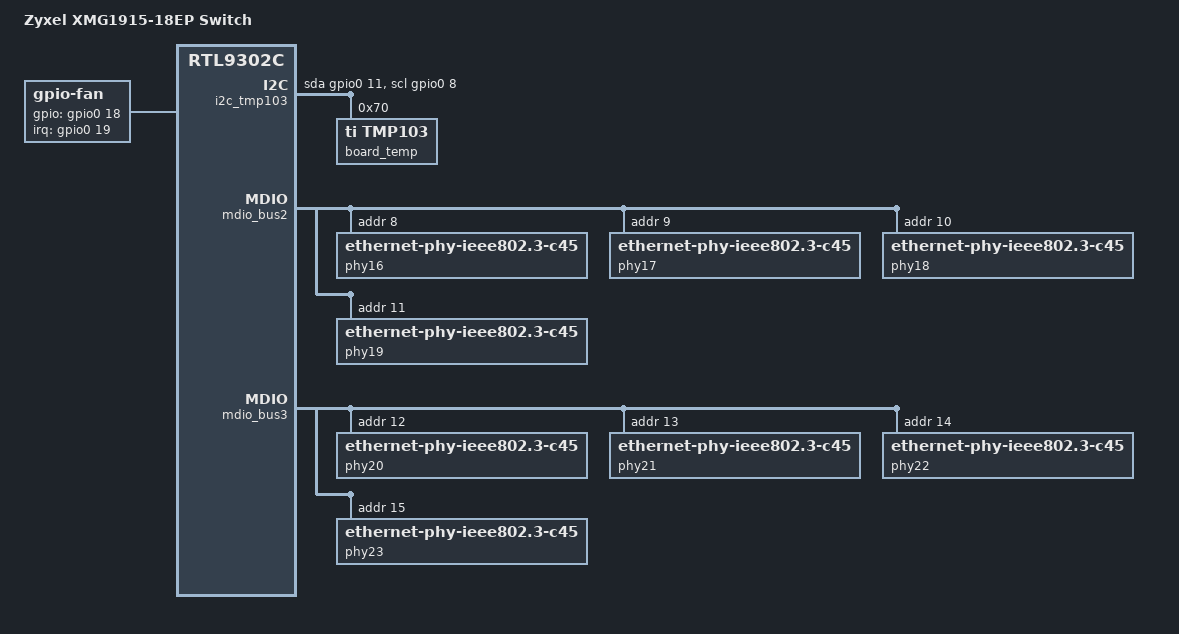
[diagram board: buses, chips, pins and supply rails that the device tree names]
// SPDX-License-Identifier: GPL-2.0-or-later
/dts-v1/;

#include "rtl9302_zyxel_xmg1915-common.dtsi"
#include "rtl9302_zyxel_xmg1915-poe.dtsi"

#include <dt-bindings/input/input.h>
#include <dt-bindings/gpio/gpio.h>
#include <dt-bindings/interrupt-controller/irq.h>
#include <dt-bindings/leds/common.h>
#include <dt-bindings/thermal/thermal.h>

/*
 * Zyxel XMG1915-18EP: 16x 2.5G copper (PoE on the first 8) + 2x SFP+.
 *
 * UNTESTED. Reconstructed from the stock firmware, which ships one image for
 * the 10E, 10EP and 18EP; the same extraction run against the 10EP reproduces
 * that board's known-good device tree exactly. That is not the same as having
 * verified this one.
 *
 * Least certain, and the first things to check on hardware: the SoC
 * compatible, assumed to match the 10EP because the firmware reads the chip id
 * at runtime rather than storing it per model, and the indicator LED colours.
 * Their position is not a guess -- the scan chain is indexed by raw port
 * number, and ports 20-23 are real copper here, so all four indicators sit on
 * port 24 instead of the 10EP's 23 and 24.
 */

/ {
	compatible = "zyxel,xmg1915-18ep", "realtek,rtl9302c-soc";
	model = "Zyxel XMG1915-18EP Switch";

	led_set: led_set {
		compatible = "realtek,rtl9300-leds";
		active-low;

		/* Copper */
		led_set0 = <(RTL93XX_LED_SET_100M | RTL93XX_LED_SET_LINK |
			     RTL93XX_LED_SET_ACT)
			    (RTL93XX_LED_SET_100M |RTL93XX_LED_SET_1G |
			     RTL93XX_LED_SET_2P5G | RTL93XX_LED_SET_LINK |
			     RTL93XX_LED_SET_ACT)
			    (RTL93XX_LED_SET_2P5G | RTL93XX_LED_SET_LINK |
			     RTL93XX_LED_SET_ACT)>;
		/* SFP+ */
		led_set1 = <(RTL93XX_LED_SET_1G | RTL93XX_LED_SET_2P5G |
			     RTL93XX_LED_SET_LINK | RTL93XX_LED_SET_ACT)
			     (RTL93XX_LED_SET_10G | RTL93XX_LED_SET_2P5G |
			     RTL93XX_LED_SET_LINK | RTL93XX_LED_SET_ACT)>;

		/*
		 * CLOUD and the PoE indicator, driven by software below, so
		 * these contents never reach the panel. Four LEDs must still
		 * be declared for the port to get four chain slots.
		 */
		led_set2 = <(RTL93XX_LED_SET_LINK) (RTL93XX_LED_SET_LINK)
			    (RTL93XX_LED_SET_LINK) (RTL93XX_LED_SET_LINK)>;

		realtek,led-set2-force-port-mask = <0x01000000>;

		software-leds {
			#address-cells = <2>;
			#size-cells = <0>;

			led@18,0 {
				reg = <24 0>;
				color = <LED_COLOR_ID_GREEN>;
				function = "cloud";
			};

			led@18,1 {
				reg = <24 1>;
				color = <LED_COLOR_ID_BLUE>;
				function = "poe";
			};

			led@18,2 {
				reg = <24 2>;
				color = <LED_COLOR_ID_GREEN>;
				function = "poe";
			};

			led@18,3 {
				reg = <24 3>;
				color = <LED_COLOR_ID_RED>;
				function = "poe";
			};
		};
	};

	/*
	 * The board sensor hangs off two GPIOs rather than the switch's i2c
	 * master. Pin 11 is the LED-mode button on the 10EP; here it is this
	 * bus's data line, which is why this model has no such button.
	 */
	i2c_tmp103: i2c-gpio {
		compatible = "i2c-gpio";
		sda-gpios = <&gpio0 11 (GPIO_ACTIVE_HIGH | GPIO_OPEN_DRAIN)>;
		scl-gpios = <&gpio0 8 (GPIO_ACTIVE_HIGH | GPIO_OPEN_DRAIN)>;
		i2c-gpio,delay-us = <10>;
		#address-cells = <1>;
		#size-cells = <0>;

		/* "CPU/MAC" in the stock firmware; the address is hard wired. */
		board_temp: tmp103@70 {
			compatible = "ti,tmp103";
			reg = <0x70>;
		};
	};

	/*
	 * GPIO 18 selects full rate rather than switching the fan off, so
	 * neither speed-map entry may be 0 RPM: that would let the thermal
	 * core try to stop a fan that cannot stop. GPIO 19 is the tachometer,
	 * armed on both edges, so four edges per revolution for a two pulse
	 * fan. The speeds are nominal; fan1_input reports what it measures.
	 */
	fan: gpio-fan {
		compatible = "gpio-fan";
		gpios = <&gpio0 18 GPIO_ACTIVE_HIGH>;
		gpio-fan,speed-map = <3000 0>, <6000 1>;
		interrupt-parent = <&gpio0>;
		interrupts = <19 IRQ_TYPE_EDGE_BOTH>;
		pulses-per-revolution = <4>;
		#cooling-cells = <2>;
	};

};

/*
 * Stock has no temperature input in its fan path: it boosts once an SFP is
 * present and only drops back when the feature is switched off. Drive the
 * boost from the SoC sensor instead, which covers PoE load as well.
 *
 * The TMP103 is deliberately left out of the loop. It measures the same area,
 * so a second uncalibrated trip would control the same thing, and guessing it
 * low would pin the fan on for good. It is exposed as a sensor only.
 */
&thermal_zones {
	cpu-thermal {
		trips {
			cpu_fan_trip: cpu-fan-trip {
				temperature = <70000>;
				hysteresis = <5000>;
				type = "active";
			};
		};

		cooling-maps {
			map {
				trip = <&cpu_fan_trip>;
				cooling-device = <&fan THERMAL_NO_LIMIT THERMAL_NO_LIMIT>;
			};
		};
	};

};

/*
 * GPIO 2 is a global PHY reset shared by all four MDIO busses. Deliberately
 * not declared as reset-gpios anywhere: the binding only has a per-bus reset,
 * and attaching it to one bus would reset the PHYs on the others behind their
 * drivers' backs.
 */
&mdio_bus2 {
	/* External RTL8224 PHY */
	phy16: ethernet-phy@8 {
		reg = <8>;
		compatible = "ethernet-phy-ieee802.3-c45";
		enet-phy-pair-order = <0>;
		enet-phy-pair-polarity = <0>;
	};
	phy17: ethernet-phy@9 {
		reg = <9>;
		compatible = "ethernet-phy-ieee802.3-c45";
		enet-phy-pair-order = <0>;
		enet-phy-pair-polarity = <0>;
	};
	phy18: ethernet-phy@10 {
		reg = <10>;
		compatible = "ethernet-phy-ieee802.3-c45";
		enet-phy-pair-order = <1>;
		enet-phy-pair-polarity = <0>;
	};
	phy19: ethernet-phy@11 {
		reg = <11>;
		compatible = "ethernet-phy-ieee802.3-c45";
		enet-phy-pair-order = <1>;
		enet-phy-pair-polarity = <0>;
	};
};

&mdio_bus3 {
	/* External RTL8224 PHY */
	phy20: ethernet-phy@12 {
		reg = <12>;
		compatible = "ethernet-phy-ieee802.3-c45";
		enet-phy-pair-order = <0>;
		enet-phy-pair-polarity = <0>;
	};
	phy21: ethernet-phy@13 {
		reg = <13>;
		compatible = "ethernet-phy-ieee802.3-c45";
		enet-phy-pair-order = <0>;
		enet-phy-pair-polarity = <0>;
	};
	phy22: ethernet-phy@14 {
		reg = <14>;
		compatible = "ethernet-phy-ieee802.3-c45";
		enet-phy-pair-order = <1>;
		enet-phy-pair-polarity = <0>;
	};
	phy23: ethernet-phy@15 {
		reg = <15>;
		compatible = "ethernet-phy-ieee802.3-c45";
		enet-phy-pair-order = <1>;
		enet-phy-pair-polarity = <0>;
	};
};

&switch0 {
	ethernet-ports {
		#address-cells = <1>;
		#size-cells = <0>;

		/* Copper ports */
		SWITCH_PORT_LED(0, 1, 2, 0, 0, 10g-qxgmii)
		SWITCH_PORT_LED(1, 2, 2, 1, 0, 10g-qxgmii)
		SWITCH_PORT_LED(2, 3, 2, 2, 0, 10g-qxgmii)
		SWITCH_PORT_LED(3, 4, 2, 3, 0, 10g-qxgmii)
		SWITCH_PORT_LED(8, 5, 3, 0, 0, 10g-qxgmii)
		SWITCH_PORT_LED(9, 6, 3, 1, 0, 10g-qxgmii)
		SWITCH_PORT_LED(10, 7, 3, 2, 0, 10g-qxgmii)
		SWITCH_PORT_LED(11, 8, 3, 3, 0, 10g-qxgmii)
		SWITCH_PORT_LED(16, 9, 4, 0, 0, 10g-qxgmii)
		SWITCH_PORT_LED(17, 10, 4, 1, 0, 10g-qxgmii)
		SWITCH_PORT_LED(18, 11, 4, 2, 0, 10g-qxgmii)
		SWITCH_PORT_LED(19, 12, 4, 3, 0, 10g-qxgmii)
		SWITCH_PORT_LED(20, 13, 5, 0, 0, 10g-qxgmii)
		SWITCH_PORT_LED(21, 14, 5, 1, 0, 10g-qxgmii)
		SWITCH_PORT_LED(22, 15, 5, 2, 0, 10g-qxgmii)
		SWITCH_PORT_LED(23, 16, 5, 3, 0, 10g-qxgmii)

		/* SFP+ cages */
		SWITCH_PORT_SFP(25, 17, 7, 1, 0)
		SWITCH_PORT_SFP(27, 18, 9, 1, 1)

		port@28 {
			ethernet = <&ethernet0>;
			reg = <28>;
			phy-mode = "internal";
			fixed-link {
				speed = <1000>;
				full-duplex;
			};
		};
	};
};

&pse {
	compatible = "zyxel,xmg1915-18ep-pse", "realtek,pse-mcu-gen2";
};
